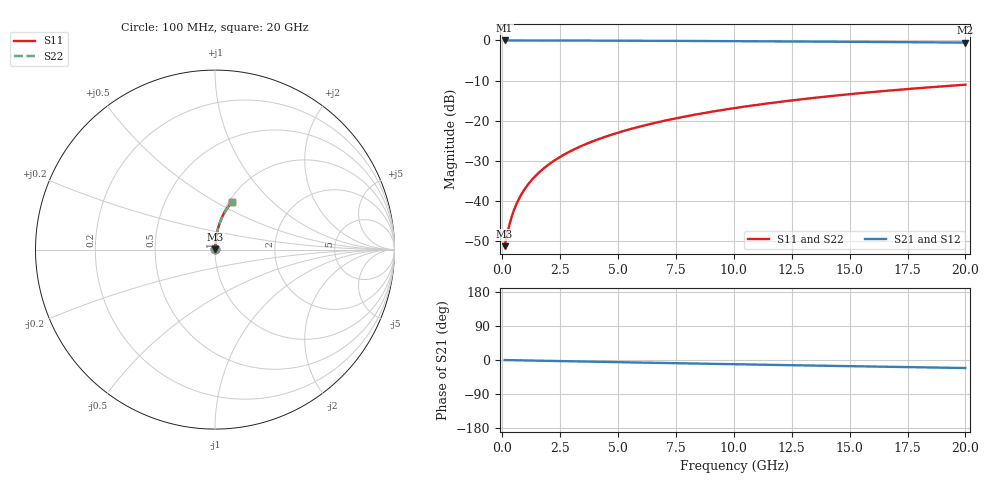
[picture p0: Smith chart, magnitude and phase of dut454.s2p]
! Touchstone file exported from HFSS 2024.1.0
!  File:  C:/UserFiles/LocalFiles/RDL_TSV_Batchsim/temp_RDL_top_454_1779677268.aedt
!  Generated:  10:50:12 AM May 25, 2026
!  Design:  RDL_top
!  Project:  temp_RDL_top_454_1779677268
!  Setup:  Setup1
!  Solution:  Sweep
! Variables:
!  dtsv = 10.80580581um
!  hbump = 3um
!  htsv = 90.33um
!  ldown = 100um
!  lrdl = 206.81um
!  p = 40
!  p1 = 56.93um
!  rhole = 1um
!  t = 450um
!  tdown = 3.915915916um
!  trdl = 2.57um
!  wdown = 15.38538539um
!  wrdl = 13.75um
# GHz S MA R 50.000000
! Terminal data exported
! Port[1] = Box2_T1
! Port[2] = Box2_T2
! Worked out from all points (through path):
!   200 points, 100 MHz to 20 GHz, reference 50 ohm
!   highest |S21| = -0.02 dB at 100 MHz (marker M1); lowest = -0.6 dB at 20 GHz (marker M2)
!   group delay of S21, straight-line fit = 2.94 ps
!   lowest |S11| = -51.3 dB at 100 MHz (marker M3), VSWR 1.01, Z = 50.2 + j0.146 ohm
!   |S11| at or under -10 dB: start of sweep to end of sweep
!   |S22| runs from -51.3 to -11.0 dB; largest |S21 - S12| = 2.7e-15
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0.1  0.002729 32.3  0.9977 -0.1  0.9977 -0.1  0.002729 32.3
! Gamma 0 0 0 0
! Port Impedance 50 0 50 0
0.2  0.003731 51.3  0.9977 -0.2  0.9977 -0.2  0.003731 51.3
0.3  0.004958 61.4  0.9976 -0.4  0.9976 -0.4  0.004958 61.4
0.4  0.00627 67.3  0.9976 -0.5  0.9976 -0.5  0.00627 67.3
0.5  0.007617 71.0  0.9975 -0.6  0.9975 -0.6  0.007617 71.0
0.6  0.008978 73.6  0.9974 -0.7  0.9974 -0.7  0.008978 73.6
0.8  0.01172 77.0  0.9973 -0.9  0.9973 -0.9  0.01172 77.0
1.1  0.01585 79.8  0.9971 -1.3  0.9971 -1.3  0.01585 79.8
1.5  0.0214 81.8  0.9968 -1.7  0.9968 -1.7  0.0214 81.8
1.8  0.02558 82.7  0.9965 -2.1  0.9965 -2.1  0.02558 82.7
2.1  0.02977 83.3  0.9962 -2.4  0.9962 -2.4  0.02977 83.3
2.7  0.03819 84.0  0.9955 -3.1  0.9955 -3.1  0.03819 84.0
3.5  0.04949 84.3  0.9943 -4.0  0.9943 -4.0  0.04949 84.3
4.2  0.05944 84.3  0.993 -4.8  0.993 -4.8  0.05944 84.3
5  0.07086 84.0  0.9914 -5.7  0.9914 -5.7  0.07087 84.0
5.9  0.08379 83.6  0.9894 -6.7  0.9894 -6.7  0.08379 83.6
6.8  0.09676 83.0  0.9871 -7.7  0.9871 -7.7  0.09676 83.0
8.3  0.1184 81.9  0.9829 -9.3  0.9829 -9.3  0.1184 81.9
10.1  0.1444 80.3  0.9772 -11.3  0.9772 -11.3  0.1444 80.3
13.4  0.1914 77.1  0.9656 -14.7  0.9656 -14.7  0.1914 77.1
16.7  0.2368 73.8  0.9527 -18.0  0.9527 -18.0  0.2368 73.8
20  0.2804 70.6  0.9386 -21.2  0.9386 -21.2  0.2804 70.6
